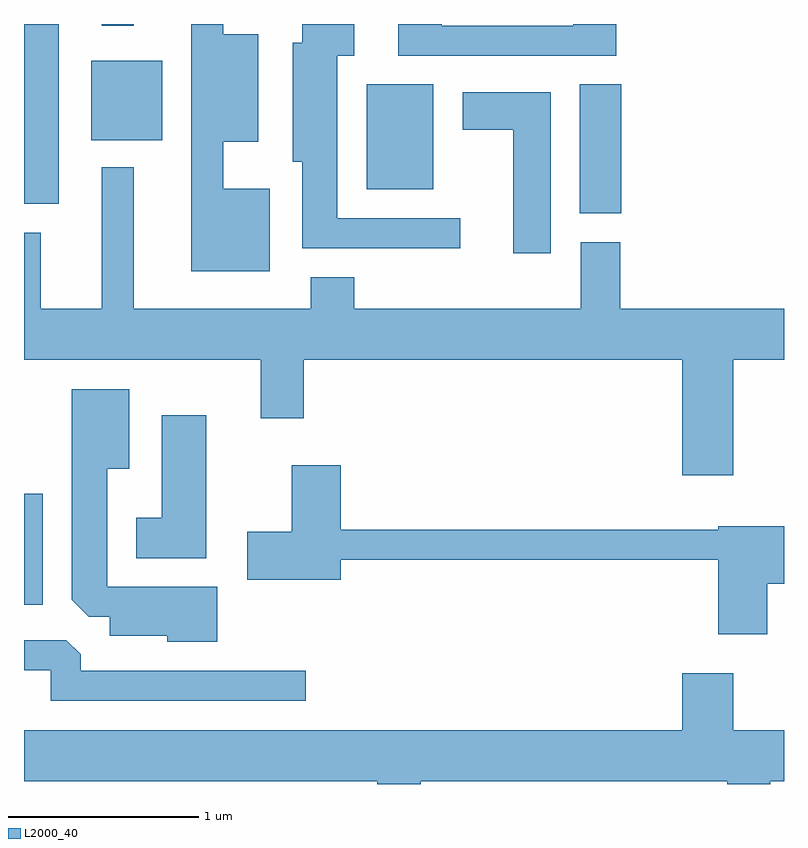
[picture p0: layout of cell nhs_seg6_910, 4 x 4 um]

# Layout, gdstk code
import gdstk
lib = gdstk.Library(unit=1e-6, precision=1e-09)
def R(c, l, rs):  # rectangles x0, y0, x1, y1
    for r in rs: c.add(gdstk.rectangle(r[:2], r[2:], *l))
def P(c, l, *ps):  # polygons
    for p in ps: c.add(gdstk.Polygon(p, *l))
L2000_40 = (2000, 40)

nhs_seg6_910 = lib.new_cell('nhs_seg6_910')
R(nhs_seg6_910, L2000_40, [(211.611,1633.106,211.709,1633.689), (214.536,1635.166,214.754,1635.844), (211.611,1635.216,211.794,1636.162), (213.416,1635.291,213.764,1635.844), (211.966,1635.551,212.339,1635.969), (212.021,1636.153,212.189,1636.162)])
P(nhs_seg6_910, L2000_40, [(214.729,1636.162),(214.501,1636.162),(214.501,1636.154),(213.809,1636.154),(213.809,1636.162),(213.581,1636.162),(213.581,1635.996),(214.729,1635.996)],
  [(213.908,1635.139),(213.259,1635.139),(213.259,1635.996),(213.349,1635.996),(213.349,1636.162),(213.076,1636.162),(213.076,1636.064),(213.026,1636.064),(213.026,1635.436),(213.076,1635.436),(213.076,1634.981),(213.908,1634.981)],
  [(212.904,1635.294),(212.659,1635.294),(212.659,1635.541),(212.844,1635.541),(212.844,1636.109),(212.659,1636.109),(212.659,1636.162),(212.491,1636.162),(212.491,1634.861),(212.904,1634.861)],
  [(214.384,1635.804),(213.921,1635.804),(213.921,1635.606),(214.186,1635.606),(214.186,1634.956),(214.384,1634.956)],
  [(215.344,1634.396),(215.611,1634.396),(215.611,1634.664),(214.749,1634.664),(214.749,1635.014),(214.541,1635.014),(214.541,1634.664),(213.349,1634.664),(213.349,1634.829),(213.121,1634.829),(213.121,1634.664),(212.189,1634.664),(212.189,1635.408),(212.021,1635.408),(212.021,1634.664),(211.699,1634.664),(211.699,1635.064),(211.611,1635.064),(211.611,1634.396),(212.856,1634.396),(212.856,1634.086),(213.084,1634.086),(213.084,1634.396),(215.076,1634.396),(215.076,1633.786),(215.344,1633.786)],
  [(212.629,1633.199),(212.049,1633.199),(212.049,1633.821),(212.164,1633.821),(212.164,1634.239),(211.861,1634.239),(211.861,1633.132),(211.952,1633.041),(212.061,1633.041),(212.061,1632.941),(212.366,1632.941),(212.366,1632.911),(212.629,1632.911)],
  [(212.569,1634.104),(212.336,1634.104),(212.336,1633.564),(212.201,1633.564),(212.201,1633.351),(212.569,1633.351)],
  [(215.524,1633.216),(215.611,1633.216),(215.611,1633.519),(215.266,1633.519),(215.266,1633.499),(213.279,1633.499),(213.279,1633.839),(213.021,1633.839),(213.021,1633.489),(212.786,1633.489),(212.786,1633.236),(213.279,1633.236),(213.279,1633.341),(215.266,1633.341),(215.266,1632.951),(215.524,1632.951)],
  [(213.093,1632.759),(211.909,1632.759),(211.909,1632.844),(211.834,1632.919),(211.611,1632.919),(211.611,1632.761),(211.751,1632.761),(211.751,1632.601),(213.093,1632.601)],
  [(213.699,1632.176),(215.311,1632.176),(215.311,1632.162),(215.539,1632.162),(215.539,1632.176),(215.611,1632.176),(215.611,1632.444),(215.344,1632.444),(215.344,1632.744),(215.076,1632.744),(215.076,1632.444),(211.611,1632.444),(211.611,1632.176),(213.471,1632.176),(213.471,1632.162),(213.699,1632.162)])

lib.write_gds('nhs_seg6_910.gds')
